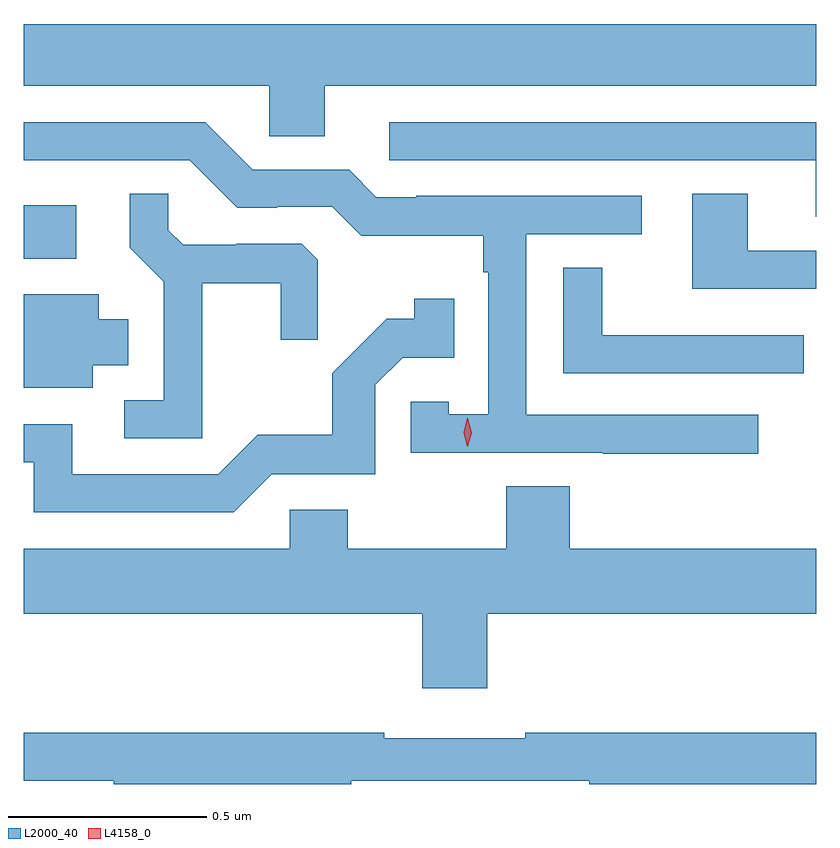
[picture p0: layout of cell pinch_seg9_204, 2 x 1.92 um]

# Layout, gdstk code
import gdstk
lib = gdstk.Library(unit=1e-6, precision=1e-09)
def R(c, l, rs):  # rectangles x0, y0, x1, y1
    for r in rs: c.add(gdstk.rectangle(r[:2], r[2:], *l))
def P(c, l, *ps):  # polygons
    for p in ps: c.add(gdstk.Polygon(p, *l))
L2000_40 = (2000, 40)
L4158_0 = (4158, 0)

pinch_seg9_204 = lib.new_cell('pinch_seg9_204')
R(pinch_seg9_204, L2000_40, [(547.618,1246.599,547.75,1246.735)])
P(pinch_seg9_204, L2000_40, [(548.377,1247.036),(549.618,1247.036),(549.618,1247.192),(547.618,1247.192),(547.618,1247.036),(548.238,1247.036),(548.238,1246.909),(548.377,1246.909)],
  [(549.472,1246.206),(548.886,1246.206),(548.886,1246.662),(549.178,1246.662),(549.178,1246.758),(548.608,1246.758),(548.608,1246.755),(548.508,1246.755),(548.439,1246.824),(548.196,1246.824),(548.076,1246.944),(547.618,1246.944),(547.618,1246.848),(548.037,1246.848),(548.157,1246.728),(548.258,1246.728),(548.258,1246.731),(548.397,1246.731),(548.47,1246.658),(548.778,1246.658),(548.778,1246.565),(548.79,1246.565),(548.79,1246.207),(548.691,1246.207),(548.691,1246.239),(548.595,1246.239),(548.595,1246.11),(549.079,1246.11),(549.079,1246.108),(549.472,1246.108)],
  [(549.618,1246.944),(548.541,1246.944),(548.541,1246.848),(549.617,1246.848),(549.617,1246.705),(549.618,1246.705)],
  [(548.069,1246.538),(548.266,1246.538),(548.266,1246.395),(548.36,1246.395),(548.36,1246.597),(548.319,1246.638),(548.154,1246.638),(548.154,1246.635),(548.02,1246.635),(547.983,1246.672),(547.983,1246.763),(547.885,1246.763),(547.885,1246.627),(547.971,1246.541),(547.971,1246.242),(547.872,1246.242),(547.872,1246.146),(548.069,1246.146)],
  [(549.618,1246.62),(549.445,1246.62),(549.445,1246.763),(549.305,1246.763),(549.305,1246.524),(549.618,1246.524)],
  [(549.586,1246.406),(549.473,1246.406),(549.473,1246.407),(549.078,1246.407),(549.078,1246.577),(548.979,1246.577),(548.979,1246.311),(549.586,1246.311)],
  [(547.792,1246.331),(547.882,1246.331),(547.882,1246.447),(547.807,1246.447),(547.807,1246.51),(547.618,1246.51),(547.618,1246.274),(547.792,1246.274)],
  [(548.244,1246.056),(548.505,1246.056),(548.505,1246.281),(548.574,1246.35),(548.705,1246.35),(548.705,1246.498),(548.604,1246.498),(548.604,1246.448),(548.534,1246.448),(548.397,1246.31),(548.397,1246.155),(548.208,1246.155),(548.109,1246.056),(547.741,1246.056),(547.741,1246.182),(547.618,1246.182),(547.618,1246.086),(547.643,1246.086),(547.643,1245.96),(548.148,1245.96)],
  [(548.788,1245.704),(549.618,1245.704),(549.618,1245.868),(548.996,1245.868),(548.996,1246.025),(548.836,1246.025),(548.836,1245.868),(548.436,1245.868),(548.436,1245.966),(548.289,1245.966),(548.289,1245.868),(547.618,1245.868),(547.618,1245.704),(548.624,1245.704),(548.624,1245.516),(548.788,1245.516)],
  [(548.445,1245.282),(549.045,1245.282),(549.045,1245.274),(549.618,1245.274),(549.618,1245.403),(548.884,1245.403),(548.884,1245.39),(548.528,1245.39),(548.528,1245.403),(547.618,1245.403),(547.618,1245.282),(547.845,1245.282),(547.845,1245.274),(548.445,1245.274)])
P(pinch_seg9_204, L4158_0, [(548.737,1246.126),(548.728,1246.161),(548.737,1246.197),(548.738,1246.197),(548.738,1246.197),(548.748,1246.161),(548.738,1246.126),(548.738,1246.126)])

lib.write_gds('pinch_seg9_204.gds')
